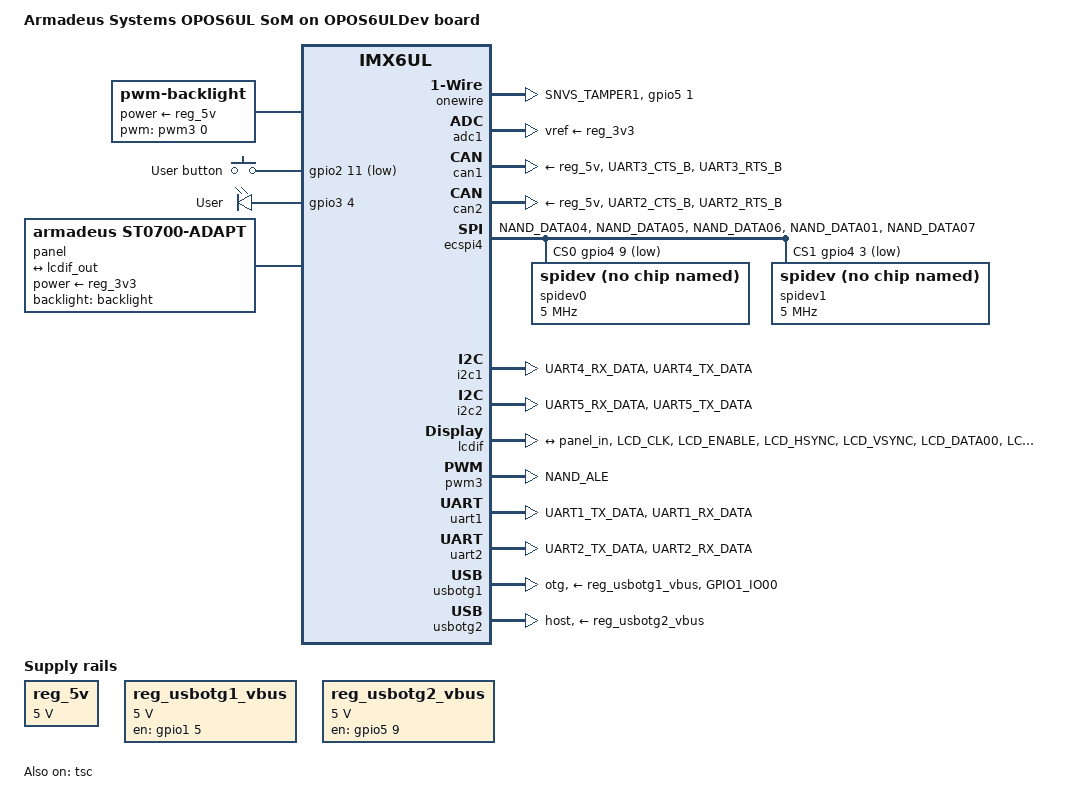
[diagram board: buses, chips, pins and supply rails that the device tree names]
/*
 * Copyright 2017 Armadeus Systems <support@armadeus.com>
 *
 * This file is dual-licensed: you can use it either under the terms
 * of the GPL or the X11 license, at your option. Note that this dual
 * licensing only applies to this file, and not this project as a
 * whole.
 *
 *  a) This file is free software; you can redistribute it and/or
 *     modify it under the terms of the GNU General Public License as
 *     published by the Free Software Foundation; either version 2 of
 *     the License, or (at your option) any later version.
 *
 *     This file is distributed in the hope that it will be useful,
 *     but WITHOUT ANY WARRANTY; without even the implied warranty of
 *     MERCHANTABILITY or FITNESS FOR A PARTICULAR PURPOSE.  See the
 *     GNU General Public License for more details.
 *
 *     You should have received a copy of the GNU General Public
 *     License along with this file; if not, write to the Free
 *     Software Foundation, Inc., 51 Franklin St, Fifth Floor, Boston,
 *     MA 02110-1301 USA
 *
 * Or, alternatively,
 *
 *  b) Permission is hereby granted, free of charge, to any person
 *     obtaining a copy of this software and associated documentation
 *     files (the "Software"), to deal in the Software without
 *     restriction, including without limitation the rights to use,
 *     copy, modify, merge, publish, distribute, sublicense, and/or
 *     sell copies of the Software, and to permit persons to whom the
 *     Software is furnished to do so, subject to the following
 *     conditions:
 *
 *     The above copyright notice and this permission notice shall be
 *     included in all copies or substantial portions of the Software.
 *
 *     THE SOFTWARE IS PROVIDED "AS IS", WITHOUT WARRANTY OF ANY KIND,
 *     EXPRESS OR IMPLIED, INCLUDING BUT NOT LIMITED TO THE WARRANTIES
 *     OF MERCHANTABILITY, FITNESS FOR A PARTICULAR PURPOSE AND
 *     NONINFRINGEMENT. IN NO EVENT SHALL THE AUTHORS OR COPYRIGHT
 *     HOLDERS BE LIABLE FOR ANY CLAIM, DAMAGES OR OTHER LIABILITY,
 *     WHETHER IN AN ACTION OF CONTRACT, TORT OR OTHERWISE, ARISING
 *     FROM, OUT OF OR IN CONNECTION WITH THE SOFTWARE OR THE USE OR
 *     OTHER DEALINGS IN THE SOFTWARE.
 */

/dts-v1/;
#include "imx6ul-opos6ul.dtsi"

/ {
	model = "Armadeus Systems OPOS6UL SoM on OPOS6ULDev board";
	compatible = "armadeus,opos6uldev", "armadeus,opos6ul", "fsl,imx6ul";

	chosen {
		stdout-path = &uart1;
	};

	backlight: backlight {
		compatible = "pwm-backlight";
		pwms = <&pwm3 0 191000>;
		brightness-levels = <0 4 8 16 32 64 128 255>;
		default-brightness-level = <7>;
		power-supply = <&reg_5v>;
		status = "okay";
	};

	gpio-keys {
		compatible = "gpio-keys";
		pinctrl-names = "default";
		pinctrl-0 = <&pinctrl_gpio_keys>;

		user-button {
			label = "User button";
			gpios = <&gpio2 11 GPIO_ACTIVE_LOW>;
			linux,code = <BTN_MISC>;
			wakeup-source;
		};
	};

	leds {
		compatible = "gpio-leds";

		user-led {
			label = "User";
			pinctrl-names = "default";
			pinctrl-0 = <&pinctrl_led>;
			gpios = <&gpio3 4 GPIO_ACTIVE_HIGH>;
			linux,default-trigger = "heartbeat";
		};
	};

	onewire {
		compatible = "w1-gpio";
		pinctrl-names = "default";
		pinctrl-0 = <&pinctrl_w1>;
		gpios = <&gpio5 1 GPIO_ACTIVE_HIGH>;
	};

	panel: panel {
		compatible = "armadeus,st0700-adapt";
		power-supply = <&reg_3v3>;
		backlight = <&backlight>;

		port {
			panel_in: endpoint {
				remote-endpoint = <&lcdif_out>;
			};
		};
	};

	reg_5v: regulator-5v {
		compatible = "regulator-fixed";
		regulator-name = "5V";
		regulator-min-microvolt = <5000000>;
		regulator-max-microvolt = <5000000>;
	};

	reg_usbotg1_vbus: regulator-usbotg1vbus {
		compatible = "regulator-fixed";
		regulator-name = "usbotg1vbus";
		regulator-min-microvolt = <5000000>;
		regulator-max-microvolt = <5000000>;
		pinctrl-names = "default";
		pinctrl-0 = <&pinctrl_usbotg1_vbus>;
		gpio = <&gpio1 5 GPIO_ACTIVE_HIGH>;
		enable-active-high;
	};

	reg_usbotg2_vbus: regulator-usbotg2vbus {
		compatible = "regulator-fixed";
		regulator-name = "usbotg2vbus";
		regulator-min-microvolt = <5000000>;
		regulator-max-microvolt = <5000000>;
		pinctrl-names = "default";
		pinctrl-0 = <&pinctrl_usbotg2_vbus>;
		gpio = <&gpio5 9 GPIO_ACTIVE_HIGH>;
		enable-active-high;
	};
};

&adc1 {
	vref-supply = <&reg_3v3>;
	status = "okay";
};

&can1 {
	pinctrl-names = "default";
	pinctrl-0 = <&pinctrl_flexcan1>;
	xceiver-supply = <&reg_5v>;
	status = "okay";
};

&can2 {
	pinctrl-names = "default";
	pinctrl-0 = <&pinctrl_flexcan2>;
	xceiver-supply = <&reg_5v>;
	status = "okay";
};

&ecspi4 {
	pinctrl-names = "default";
	pinctrl-0 = <&pinctrl_ecspi4>;
	cs-gpios = <&gpio4 9 GPIO_ACTIVE_LOW>, <&gpio4 3 GPIO_ACTIVE_LOW>;
	status = "okay";

	spidev0: spi@0 {
		compatible = "spidev";
		reg = <0>;
		spi-max-frequency = <5000000>;
	};

	spidev1: spi@1 {
		compatible = "spidev";
		reg = <1>;
		spi-max-frequency = <5000000>;
	};
};

&i2c1 {
	pinctrl-names = "default";
	pinctrl-0 = <&pinctrl_i2c1>;
	clock_frequency = <400000>;
	status = "okay";
};

&i2c2 {
	pinctrl-names = "default";
	pinctrl-0 = <&pinctrl_i2c2>;
	clock_frequency = <400000>;
	status = "okay";
};

&lcdif {
	pinctrl-names = "default";
	pinctrl-0 = <&pinctrl_lcdif>;
	status = "okay";

	port {
		lcdif_out: endpoint {
			remote-endpoint = <&panel_in>;
		};
	};
};

&pwm3 {
	pinctrl-names = "default";
	pinctrl-0 = <&pinctrl_pwm3>;
	status = "okay";
};

&snvs_pwrkey {
	status = "disabled";
};

&tsc {
	pinctrl-names = "default";
	pinctrl-0 = <&pinctrl_tsc>;
	xnur-gpio = <&gpio1 3 GPIO_ACTIVE_LOW>;
	measure-delay-time = <0xffff>;
	pre-charge-time = <0xffff>;
	status = "okay";
};

&uart1 {
	pinctrl-names = "default";
	pinctrl-0 = <&pinctrl_uart1>;
	status = "okay";
};

&uart2 {
	pinctrl-names = "default";
	pinctrl-0 = <&pinctrl_uart2>;
	status = "okay";
};

&usbotg1 {
	pinctrl-names = "default";
	pinctrl-0 = <&pinctrl_usbotg1_id>;
	vbus-supply = <&reg_usbotg1_vbus>;
	dr_mode = "otg";
	disable-over-current;
	status = "okay";
};

&usbotg2 {
	vbus-supply = <&reg_usbotg2_vbus>;
	dr_mode = "host";
	disable-over-current;
	status = "okay";
};

&iomuxc {
	pinctrl-names = "default";
	pinctrl-0 = <&pinctrl_gpios>;

	pinctrl_ecspi4: ecspi4grp {
		fsl,pins = <
			MX6UL_PAD_NAND_DATA04__ECSPI4_SCLK	0x1b0b0
			MX6UL_PAD_NAND_DATA05__ECSPI4_MOSI	0x1b0b0
			MX6UL_PAD_NAND_DATA06__ECSPI4_MISO	0x1b0b0
			MX6UL_PAD_NAND_DATA01__GPIO4_IO03	0x1b0b0
			MX6UL_PAD_NAND_DATA07__GPIO4_IO09	0x1b0b0
		>;
	};

	pinctrl_flexcan1: flexcan1grp {
		fsl,pins = <
			MX6UL_PAD_UART3_CTS_B__FLEXCAN1_TX	0x0b0b0
			MX6UL_PAD_UART3_RTS_B__FLEXCAN1_RX	0x0b0b0
		>;
	};

	pinctrl_flexcan2: flexcan2grp {
		fsl,pins = <
			MX6UL_PAD_UART2_CTS_B__FLEXCAN2_TX	0x0b0b0
			MX6UL_PAD_UART2_RTS_B__FLEXCAN2_RX	0x0b0b0
		>;
	};

	pinctrl_gpios: gpiosgrp {
		fsl,pins = <
			MX6UL_PAD_GPIO1_IO09__GPIO1_IO09	0x0b0b0
			MX6UL_PAD_UART3_RX_DATA__GPIO1_IO25	0x0b0b0
			MX6UL_PAD_UART3_TX_DATA__GPIO1_IO24	0x0b0b0
			MX6UL_PAD_NAND_RE_B__GPIO4_IO00		0x0b0b0
			MX6UL_PAD_GPIO1_IO08__GPIO1_IO08	0x0b0b0
			MX6UL_PAD_UART1_CTS_B__GPIO1_IO18	0x0b0b0
			MX6UL_PAD_UART1_RTS_B__GPIO1_IO19	0x0b0b0
			MX6UL_PAD_NAND_WE_B__GPIO4_IO01		0x0b0b0
			MX6UL_PAD_SNVS_TAMPER0__GPIO5_IO00	0x0b0b0
			MX6UL_PAD_SNVS_TAMPER2__GPIO5_IO02	0x0b0b0
			MX6UL_PAD_SNVS_TAMPER3__GPIO5_IO03	0x0b0b0
			MX6UL_PAD_SNVS_TAMPER4__GPIO5_IO04	0x0b0b0
			MX6UL_PAD_SNVS_TAMPER5__GPIO5_IO05	0x0b0b0
			MX6UL_PAD_SNVS_TAMPER6__GPIO5_IO06	0x0b0b0
			MX6UL_PAD_SNVS_TAMPER7__GPIO5_IO07	0x0b0b0
			MX6UL_PAD_SNVS_TAMPER8__GPIO5_IO08	0x0b0b0
		>;
	};

	pinctrl_gpio_keys: gpiokeysgrp {
		fsl,pins = <
			MX6UL_PAD_ENET2_TX_DATA0__GPIO2_IO11	0x0b0b0
		>;
	};

	pinctrl_i2c1: i2c1grp {
		fsl,pins = <
			MX6UL_PAD_UART4_RX_DATA__I2C1_SDA	0x4001b8b0
			MX6UL_PAD_UART4_TX_DATA__I2C1_SCL	0x4001b8b0
		>;
	};

	pinctrl_i2c2: i2c2grp {
		fsl,pins = <
			MX6UL_PAD_UART5_RX_DATA__I2C2_SDA	0x4001b8b0
			MX6UL_PAD_UART5_TX_DATA__I2C2_SCL	0x4001b8b0
		>;
	};

	pinctrl_lcdif: lcdifgrp {
		fsl,pins = <
			MX6UL_PAD_LCD_CLK__LCDIF_CLK	    0x100b1
			MX6UL_PAD_LCD_ENABLE__LCDIF_ENABLE  0x100b1
			MX6UL_PAD_LCD_HSYNC__LCDIF_HSYNC    0x100b1
			MX6UL_PAD_LCD_VSYNC__LCDIF_VSYNC    0x100b1
			MX6UL_PAD_LCD_DATA00__LCDIF_DATA00  0x100b1
			MX6UL_PAD_LCD_DATA01__LCDIF_DATA01  0x100b1
			MX6UL_PAD_LCD_DATA02__LCDIF_DATA02  0x100b1
			MX6UL_PAD_LCD_DATA03__LCDIF_DATA03  0x100b1
			MX6UL_PAD_LCD_DATA04__LCDIF_DATA04  0x100b1
			MX6UL_PAD_LCD_DATA05__LCDIF_DATA05  0x100b1
			MX6UL_PAD_LCD_DATA06__LCDIF_DATA06  0x100b1
			MX6UL_PAD_LCD_DATA07__LCDIF_DATA07  0x100b1
			MX6UL_PAD_LCD_DATA08__LCDIF_DATA08  0x100b1
			MX6UL_PAD_LCD_DATA09__LCDIF_DATA09  0x100b1
			MX6UL_PAD_LCD_DATA10__LCDIF_DATA10  0x100b1
			MX6UL_PAD_LCD_DATA11__LCDIF_DATA11  0x100b1
			MX6UL_PAD_LCD_DATA12__LCDIF_DATA12  0x100b1
			MX6UL_PAD_LCD_DATA13__LCDIF_DATA13  0x100b1
			MX6UL_PAD_LCD_DATA14__LCDIF_DATA14  0x100b1
			MX6UL_PAD_LCD_DATA15__LCDIF_DATA15  0x100b1
			MX6UL_PAD_LCD_DATA16__LCDIF_DATA16  0x100b1
			MX6UL_PAD_LCD_DATA17__LCDIF_DATA17  0x100b1
		>;
	};

	pinctrl_led: ledgrp {
		fsl,pins = <
			MX6UL_PAD_LCD_RESET__GPIO3_IO04		0x0b0b0
		>;
	};

	pinctrl_pwm3: pwm3grp {
		fsl,pins = <
			MX6UL_PAD_NAND_ALE__PWM3_OUT		0x1b0b0
		>;
	};

	pinctrl_tsc: tscgrp {
		fsl,pins = <
			MX6UL_PAD_GPIO1_IO01__GPIO1_IO01       0xb0
			MX6UL_PAD_GPIO1_IO02__GPIO1_IO02       0xb0
			MX6UL_PAD_GPIO1_IO03__GPIO1_IO03       0xb0
			MX6UL_PAD_GPIO1_IO04__GPIO1_IO04       0xb0
		>;
	};

	pinctrl_uart1: uart1grp {
		fsl,pins = <
			MX6UL_PAD_UART1_TX_DATA__UART1_DCE_TX	0x1b0b1
			MX6UL_PAD_UART1_RX_DATA__UART1_DCE_RX	0x1b0b1
		>;
	};

	pinctrl_uart2: uart2grp {
		fsl,pins = <
			MX6UL_PAD_UART2_TX_DATA__UART2_DCE_TX	0x1b0b1
			MX6UL_PAD_UART2_RX_DATA__UART2_DCE_RX	0x1b0b1
		>;
	};

	pinctrl_usbotg1_id: usbotg1idgrp {
		fsl,pins = <
			MX6UL_PAD_GPIO1_IO00__ANATOP_OTG1_ID	0x1b0b0
		>;
	};

	pinctrl_usbotg1_vbus: usbotg1vbusgrp {
		fsl,pins = <
			MX6UL_PAD_GPIO1_IO05__GPIO1_IO05	0x1b0b0
		>;
	};

	pinctrl_usbotg2_vbus: usbotg2vbusgrp {
		fsl,pins = <
			MX6UL_PAD_SNVS_TAMPER9__GPIO5_IO09	0x1b0b0
		>;
	};

	pinctrl_w1: w1grp {
		fsl,pins = <
			MX6UL_PAD_SNVS_TAMPER1__GPIO5_IO01	0x0b0b0
		>;
	};
};
